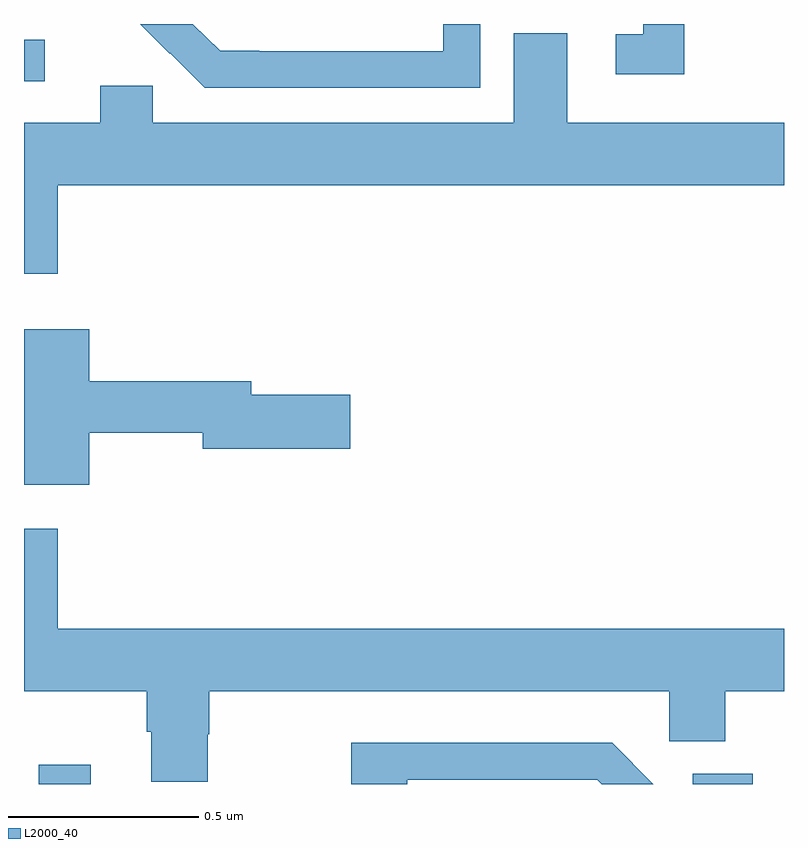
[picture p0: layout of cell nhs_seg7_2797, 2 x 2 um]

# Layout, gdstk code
import gdstk
lib = gdstk.Library(unit=1e-6, precision=1e-09)
def R(c, l, rs):  # rectangles x0, y0, x1, y1
    for r in rs: c.add(gdstk.rectangle(r[:2], r[2:], *l))
def P(c, l, *ps):  # polygons
    for p in ps: c.add(gdstk.Polygon(p, *l))
L2000_40 = (2000, 40)

nhs_seg7_2797 = lib.new_cell('nhs_seg7_2797')
R(nhs_seg7_2797, L2000_40, [(150.039,1039,150.175,1039.051), (151.76,1039,151.918,1039.027), (150,1040.85,150.055,1040.959)])
P(nhs_seg7_2797, L2000_40, [(151.738,1041),(151.629,1041),(151.629,1040.973),(151.557,1040.973),(151.557,1040.868),(151.738,1040.868)],
  [(151.2,1041),(151.103,1041),(151.103,1040.928),(150.619,1040.928),(150.619,1040.929),(150.516,1040.929),(150.444,1041),(150.306,1041),(150.384,1040.922),(150.385,1040.923),(150.476,1040.832),(151.2,1040.832)],
  [(150.089,1040.576),(152,1040.576),(152,1040.74),(151.429,1040.74),(151.429,1040.976),(151.289,1040.976),(151.289,1040.74),(150.339,1040.74),(150.339,1040.838),(150.2,1040.838),(150.2,1040.74),(150,1040.74),(150,1040.343),(150.089,1040.343)],
  [(150.172,1039.924),(150.47,1039.924),(150.47,1039.882),(150.859,1039.882),(150.859,1040.024),(150.598,1040.024),(150.598,1040.06),(150.172,1040.06),(150.172,1040.197),(150,1040.197),(150,1039.787),(150.172,1039.787)],
  [(150.089,1039.672),(150,1039.672),(150,1039.244),(150.323,1039.244),(150.323,1039.138),(150.335,1039.138),(150.335,1039.006),(150.483,1039.006),(150.483,1039.131),(150.488,1039.131),(150.488,1039.244),(151.698,1039.244),(151.698,1039.113),(151.845,1039.113),(151.845,1039.244),(152,1039.244),(152,1039.408),(150.089,1039.408)],
  [(151.009,1039.011),(151.509,1039.011),(151.52,1039),(151.656,1039),(151.548,1039.108),(150.861,1039.108),(150.861,1039),(151.009,1039)])

lib.write_gds('nhs_seg7_2797.gds')
